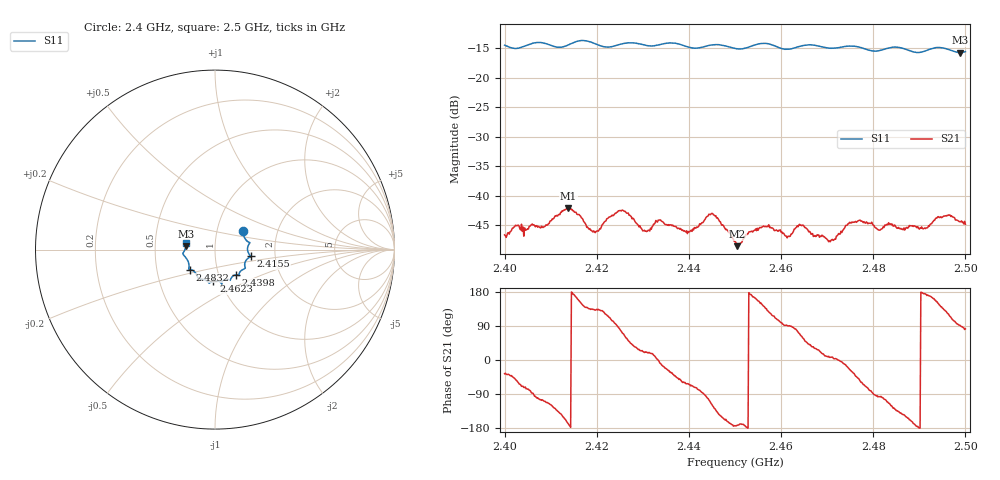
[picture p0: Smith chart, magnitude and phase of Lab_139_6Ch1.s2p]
# Hz S RI R 50
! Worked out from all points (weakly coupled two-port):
!   601 points, 2.4 GHz to 2.5 GHz, reference 50 ohm
!   highest |S21| = -42.14 dB at 2.4138 GHz (marker M1); lowest = -48.6 dB at 2.4505 GHz (marker M2)
!   lowest |S11| = -15.7 dB at 2.4988 GHz (marker M3), VSWR 1.39, Z = 36 + j1.37 ohm
!   |S11| at or under -10 dB: start of sweep to end of sweep
!   S12 and S22 are empty: the file has one direction only
!   S11 on the Smith chart (normalised r, x): 2.4 GHz: 1.33, +0.29; 2.4155 GHz: 1.49, -0.11; 2.4398 GHz: 1.21, -0.35; 2.4623 GHz: 0.92, -0.34; 2.4832 GHz: 0.74, -0.17; 2.5 GHz: 0.72, +0.06
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2.4e9  0.1562 0.106  0.00373 -0.00274  0 0  0 0
2.413833e9  0.1884 -0.0229  -0.00767 -0.00155  0 0  0 0
2.4155e9  0.1988 -0.0364  -0.007 0.00173  0 0  0 0
2.416667e9  0.2028 -0.0405  -0.00552 0.00336  0 0  0 0
2.4195e9  0.1903 -0.044  -0.00332 0.00362  0 0  0 0
2.425167e9  0.1668 -0.096  0.00155 0.00729  0 0  0 0
2.4305e9  0.1501 -0.1142  0.00462 0.00184  0 0  0 0
2.433333e9  0.1343 -0.1338  0.00618 -5.08e-05  0 0  0 0
2.439833e9  0.1166 -0.1395  0.00227 -0.0044  0 0  0 0
2.445e9  0.0852 -0.1694  -0.00327 -0.00626  0 0  0 0
2.45e9  0.064 -0.1652  -0.00403 -0.000483  0 0  0 0
2.4505e9  0.0588 -0.1657  -0.00368 -0.000501  0 0  0 0
2.455833e9  0.038 -0.1916  -0.00453 0.00294  0 0  0 0
2.462333e9  -0.00857 -0.1759  0.000168 0.00472  0 0  0 0
2.464333e9  -0.0271 -0.1839  0.00248 0.00502  0 0  0 0
2.466667e9  -0.0332 -0.1869  0.00385 0.00271  0 0  0 0
2.470833e9  -0.0563 -0.1685  0.00413 0.000511  0 0  0 0
2.475167e9  -0.0914 -0.1616  0.00512 -0.00277  0 0  0 0
2.483167e9  -0.1389 -0.1114  -0.00203 -0.00527  0 0  0 0
2.483333e9  -0.1399 -0.1112  -0.00238 -0.00537  0 0  0 0
2.498833e9  -0.1622 0.0186  -0.000145 0.00598  0 0  0 0
2.5e9  -0.1622 0.0373  0.000784 0.00564  0 0  0 0
